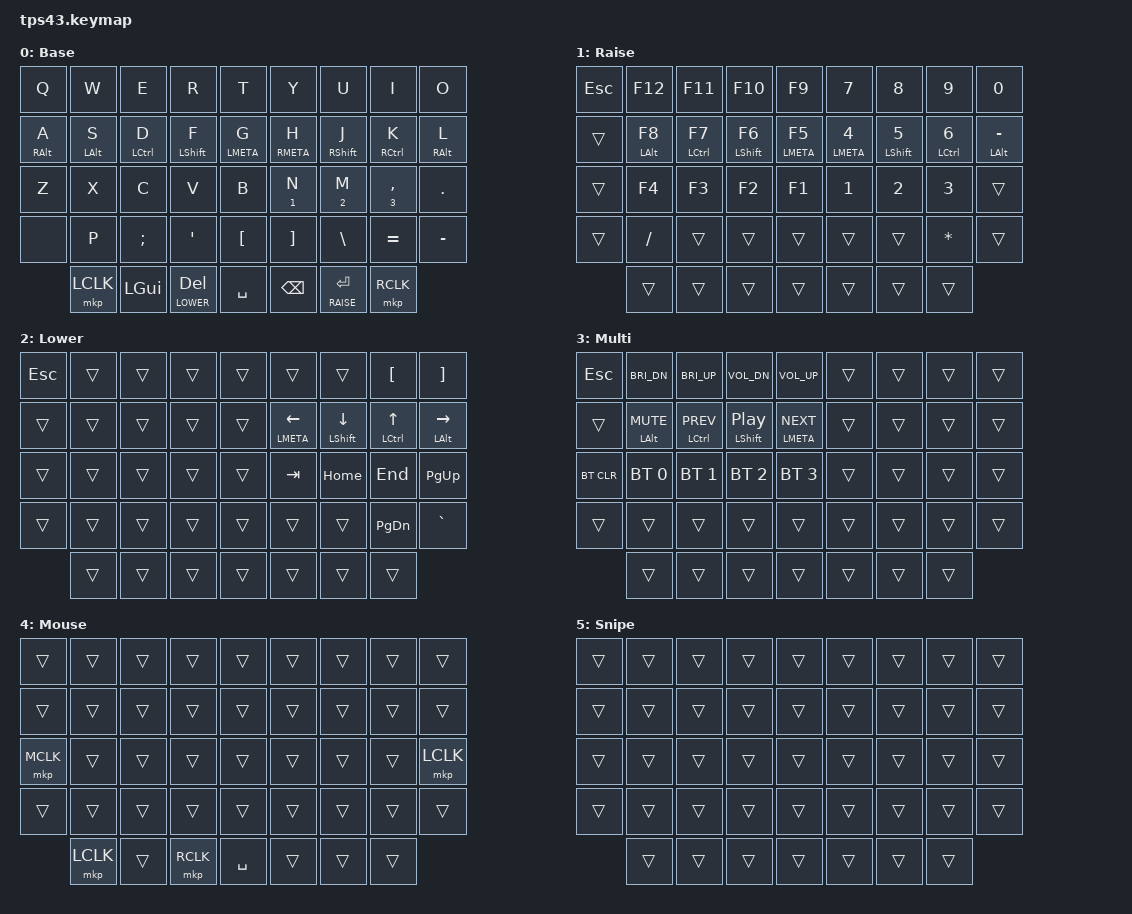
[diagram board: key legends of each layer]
#include <behaviors.dtsi>
#include <dt-bindings/zmk/keys.h>
#include <dt-bindings/zmk/bt.h>
#include <dt-bindings/zmk/ext_power.h>
#include <dt-bindings/zmk/mouse.h>
#include <dt-bindings/zmk/outputs.h>
#include "tps43_parameters.h"

// Physical layout (9 cols × 5 rows, 43 keys):
//
//  Row 0:  Q   W   E   R   T   Y   U   I   O
//  Row 1:  A   S   D   F   G   H   J   K   L
//  Row 2:  Z   X   C   V   B   N   M   ,   .
//  Row 3:  `   P   ;   '   [   ]   \   =   -
//  Row 4:      LCK GUI ⌫L  SPC ⌫   ⌫R  RCK
//               (thumb cluster — cols 1-7)

/ {
    behaviors {
        hm: homerow_mods {
            compatible = "zmk,behavior-hold-tap";
            #binding-cells = <2>;
            tapping-term-ms = <200>;
            quick-tap-ms = <125>;
            require-prior-idle-ms = <125>;
            flavor = "tap-preferred";
            bindings = <&kp>, <&kp>;
        };
        lt: layer_tap {
            compatible = "zmk,behavior-hold-tap";
            #binding-cells = <2>;
            flavor = "balanced";
            tapping-term-ms = <240>;
            quick-tap-ms = <150>;
            bindings = <&mo>, <&kp>;
        };
    };

    conditional_layers {
        compatible = "zmk,conditional-layers";
        tri_layer {
            if-layers = <RAISE LOWER>;
            then-layer = <MULTI>;
        };
    };

    keymap {
        compatible = "zmk,keymap";

        Base {
            label = "Base";
            bindings = <
&kp Q        &kp W         &kp E        &kp R         &kp T         &kp Y        &kp U           &kp I        &kp O
&hm RALT A   &hm LALT S    &hm LCTRL D  &hm LSHIFT F  &hm LMETA G   &hm RMETA H  &hm RSHIFT J    &hm RCTRL K  &hm RALT L
&kp Z        &kp X         &kp C        &kp V         &kp B         &hm N1 N     &hm N2 M        &hm N3 COMMA &kp DOT
&none        &kp P         &kp SEMI     &kp SQT       &kp LBKT      &kp RBKT     &kp BSLH        &kp EQUAL    &kp MINUS
             &mkp LCLK     &kp LGUI     &lt LOWER DEL &kp SPACE     &kp BSPC     &lt RAISE RET   &mkp RCLK
            >;
        };

        raise_layer {
            label = "Raise";
            bindings = <
&kp ESC   &kp F12      &kp F11       &kp F10        &kp F9          &kp N7        &kp N8         &kp N9        &kp N0
&trans    &hm LALT F8  &hm LCTRL F7  &hm LSHIFT F6  &hm LMETA F5    &hm LMETA N4  &hm LSHIFT N5  &hm LCTRL N6  &hm LALT MINUS
&trans    &kp F4       &kp F3        &kp F2         &kp F1          &kp N1        &kp N2         &kp N3        &trans
&trans    &kp FSLH     &trans        &trans         &trans          &trans        &trans         &kp STAR      &trans
          &trans       &trans        &trans         &trans          &trans        &trans         &trans
            >;
        };

        lower_layer {
            label = "Lower";
            bindings = <
&kp ESC  &trans   &trans   &trans   &trans   &trans          &trans           &kp LBKT      &kp RBKT
&trans   &trans   &trans   &trans   &trans   &hm LMETA LEFT  &hm LSHIFT DOWN  &hm LCTRL UP  &hm LALT RIGHT
&trans   &trans   &trans   &trans   &trans   &kp TAB         &kp HOME         &kp END       &kp PG_UP
&trans   &trans   &trans   &trans   &trans   &trans          &trans           &kp PG_DN     &kp GRAVE
         &trans   &trans   &trans   &trans   &trans          &trans           &trans
            >;
        };

        multi_layer {
            label = "Multi";
            bindings = <
&kp ESC     &kp C_BRI_DN     &kp C_BRI_UP      &kp C_VOL_DN             &kp C_VOL_UP      &trans  &trans  &trans  &trans
&trans      &hm LALT C_MUTE  &hm LCTRL C_PREV  &hm LSHIFT C_PLAY_PAUSE  &hm LMETA C_NEXT  &trans  &trans  &trans  &trans
&bt BT_CLR  &bt BT_SEL 0     &bt BT_SEL 1      &bt BT_SEL 2             &bt BT_SEL 3      &trans  &trans  &trans  &trans
&trans      &trans           &trans            &trans                   &trans            &trans  &trans  &trans  &trans
            &trans           &trans            &trans                   &trans            &trans  &trans  &trans
            >;
        };

        mouse_layer {
            label = "Mouse";
            bindings = <
&trans      &trans  &trans  &trans     &trans    &trans     &trans  &trans  &trans
&trans      &trans  &trans  &trans     &trans    &trans     &trans  &trans  &trans
&mkp MCLK   &trans  &trans  &trans     &trans    &trans     &trans  &trans  &mkp LCLK
&trans      &trans  &trans  &trans     &trans    &trans     &trans  &trans  &trans
            &mkp LCLK  &trans  &mkp RCLK  &kp SPACE  &trans  &trans  &trans
            >;
        };

        snipe_layer {
            label = "Snipe";
            bindings = <
&trans  &trans  &trans  &trans  &trans  &trans  &trans  &trans  &trans
&trans  &trans  &trans  &trans  &trans  &trans  &trans  &trans  &trans
&trans  &trans  &trans  &trans  &trans  &trans  &trans  &trans  &trans
&trans  &trans  &trans  &trans  &trans  &trans  &trans  &trans  &trans
        &trans  &trans  &trans  &trans  &trans  &trans  &trans
            >;
        };
    };
};
